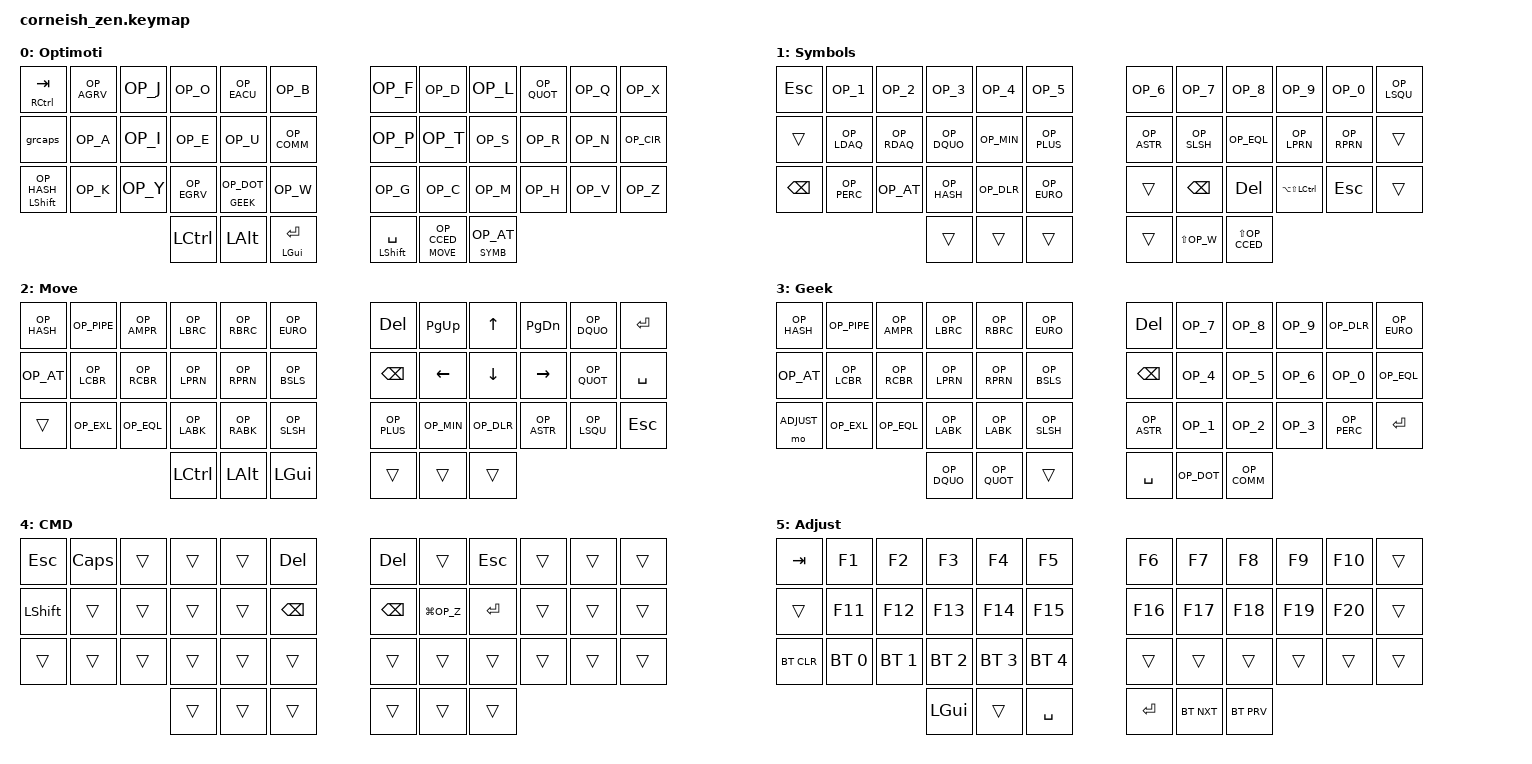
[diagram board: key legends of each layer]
/*
*
* Copyright (c) 2021 Darryl deHaan
* SPDX-License-Identifier: MIT
*
*/

#include <behaviors.dtsi>
#include <dt-bindings/zmk/keys.h>
#include <dt-bindings/zmk/bt.h>

#include "keymap_optimot.h"

#define DEFAULT 0
#define SYMB    1
#define MOVE    2
#define GEEK    3
#define CMD     4
#define ADJUST  5

#define MEH LA(LS(LCTRL))


// Key position groups
#define KEYS_L 0 1 2 3 4 5 12 13 14 15 16 17 24 25 26 27 28 29
#define KEYS_R 6 7 8 9 10 11 18 19 20 21 22 23 30 31 32 33 34 35   
#define THUMBS_L 36 37 38
#define THUMBS_R 39 40 41


/*                KEY POSITIONS

  ╭────────────────────────╮ ╭────────────────────────╮
  │  0   1   2   3   4   5 │ │  6   7   8   9  10  11 │
  │ 12  13  14  15  16  17 │ │ 18  19  20  21  22  23 │
  │ 24  25  26  27  28  29 │ │ 30  31  32  33  34  35 │
  ╰───────────╮ 36  37  38 │ │ 39  40  41 ╭───────────╯
              ╰────────────╯ ╰────────────╯            */

/ {
  chosen {
    zmk,matrix_transform = &default_transform;
    //zmk,matrix_transform = &five_column_transform;
  };

  behaviors {
        gqt: global-quick-tap {
            compatible = "zmk,behavior-hold-tap";
            label = "GLOBAL_QUICK_TAP";
            #binding-cells = <2>;
            flavor = "balanced";
            tapping-term-ms = <210>;
            quick-tap-ms = <175>;
            global-quick-tap;
            bindings = <&kp>, <&kp>;
        };

        grcaps: grave_caps {
            compatible = "zmk,behavior-mod-morph";
            label = "GRAVE_CMD";
            #binding-cells = <0>;
            bindings = <&kp CAPS>, <&kp OP_DLR>;
            mods = <(MOD_LGUI)>;
            keep-mods = <(MOD_LGUI)>;
        };
    };

    combos {
        compatible = "zmk,combos";
        combo_backspace {
            timeout-ms = <40>;
            key-positions = <0 1>; // Backspace = TAB & à
            bindings = <&kp BSPC>;
        };

        combo_hash {
            timeout-ms = <50>;
            key-positions = <25 26>; // # = k & y
            bindings = <&kp OP_HASH>;
        };
    };

};

&mt {
    flavor = "tap-preferred";
    //tapping-term-ms = <150>;
    //quick-tap-ms = <150>;              // repeat on tap-into-hold
    // maybe I should also remove this…
    global-quick-tap;
    // hold-trigger-key-positions = <0>;  // tap on interrupt
};

/ {
        keymap {
                compatible = "zmk,keymap";

                default_layer {
                        label = "Optimoti";
// ---------------------------------------------------------------------------------------------------
// | RCTRL TAB|  à   |  j  |  o    |  é    |  b    |   |  f     |  d    |  l      |  '  |  qu  |  x  |
// | CAPS  (`)|  a   |  i  |  e    |  u    |  ,    |   |  p     |  t    |  s      |  r  |  n   |  ^  |
// | SHFT #   |  k   |  y  |  è    | . GEEK|  w    |   |  g     |  c    |  m      |  h  |  v   |  z  |
//                         | CTRL  |  ALT  |GUI RET|   | (S)SPC | -> ç  |SYM  @   | 

                        bindings = <
   &mt RCTRL TAB      &kp OP_AGRV &kp OP_J &kp OP_O         &kp OP_EACU     &kp OP_B      &kp OP_F          &kp OP_D         &kp OP_L      &kp OP_QUOT &kp OP_Q &kp OP_X
   &grcaps            &kp OP_A    &kp OP_I &kp OP_E         &kp OP_U        &kp OP_COMM   &kp OP_P          &kp OP_T         &kp OP_S      &kp OP_R    &kp OP_N &kp OP_CIR
   &mt LSHIFT OP_HASH &kp OP_K    &kp OP_Y &kp OP_EGRV      &lt GEEK OP_DOT &kp OP_W      &kp OP_G          &kp OP_C         &kp OP_M      &kp OP_H    &kp OP_V &kp OP_Z
                                           &kp LCTRL        &kp LALT        &mt LGUI RET  &gqt LSHIFT SPACE &lt MOVE OP_CCED &lt SYMB OP_AT
                        >;
                };
                lower_layer {
                        label = "Symbols";
// -----------------------------------------------------------------------------------------
// | ESC|  1  |  2  |  3  |  4  |  5  |   |  6  |  7  |  8  |  9  |  0  |   `  | 
// |    |  «  |  »  |  "  |  -  |  +  |   |  *  |  /  |  =  |  (  |  )  |      |
// |BSPC|  %  |  @  |  #  |  $  |  €  |   |     |BSPC | DEL | MEH | ESC |      |
//                  | CTRL| ALT | GUI |   |     |     |     |
                        bindings = <
   &kp ESC     &kp OP_1    &kp OP_2     &kp OP_3     &kp OP_4     &kp OP_5    &kp OP_6    &kp OP_7     &kp OP_8   &kp OP_9    &kp OP_0    &kp OP_LSQU
   &trans      &kp OP_LDAQ &kp OP_RDAQ  &kp OP_DQUO  &kp OP_MIN   &kp OP_PLUS &kp OP_ASTR &kp OP_SLSH  &kp OP_EQL &kp OP_LPRN &kp OP_RPRN &trans
   &kp BSPC    &kp OP_PERC &kp OP_AT    &kp OP_HASH  &kp OP_DLR   &kp OP_EURO &trans      &kp BSPC     &kp DEL    &kp MEH     &kp ESC     &trans
                                        &trans       &trans       &trans      &trans      &kp LS(OP_W) &kp LS(OP_CCED)
                        >;
                };

                raise_layer {
                        label = "Move";
// -------------------------------------------------------------------------------------------------
// |  #   |  |  |  &  |  [   |   ]   |   €  |   | DEL   | Pup     |  Up  | Pdow      | "    | RET  |
// |  @   |  {  |  }  |  (   |   )   |   \  |   | BSPC  | Left    |  Dwn | Right     | '    | SPACE|
// | SHFT |  !  |  =  |  <   |   >   |   /  |   | +     |   -     |  $   | *         | `    | ESC  |
//                    | CTRL |  ALT  | GUI  |   |       |         |SPACE |
                        bindings = <
   &kp OP_HASH &kp OP_PIPE &kp OP_AMPR  &kp OP_LBRC &kp OP_RBRC &kp OP_EURO    &kp DEL     &kp PG_UP  &kp UP     &kp PG_DN   &kp OP_DQUO &kp RET
   &kp OP_AT   &kp OP_LCBR &kp OP_RCBR  &kp OP_LPRN &kp OP_RPRN &kp OP_BSLS    &kp BSPC    &kp LEFT   &kp DOWN   &kp RIGHT   &kp OP_QUOT &kp SPACE
   &trans      &kp OP_EXL  &kp OP_EQL   &kp OP_LABK &kp OP_RABK &kp OP_SLSH    &kp OP_PLUS &kp OP_MIN &kp OP_DLR &kp OP_ASTR &kp OP_LSQU &kp ESC
                                        &kp LCTRL   &kp LALT    &kp LGUI       &trans      &trans     &trans
                        >;
                };


                pad_layer {
                        label = "Geek";
// -----------------------------------------------------------------------------------
// |  #   |  |  |  &  |  [   |   ]   |   €  |   | DEL |  7  |  8  |  9  |  $  |  €   |
// |  @   |  {  |  }  |  (   |   )   |   \  |   | BCK |  4  |  5  |  6  |  0  |  =   |
// |ADJUST|  !  |  =  |  <   |   >   |   /  |   |  *  |  1  |  2  |  3  |  %  |  RET |
//                    |  "   |   '   |      |   | SPC |  .  |  ,  |
                        bindings = <
   &kp OP_HASH &kp OP_PIPE &kp OP_AMPR  &kp OP_LBRC &kp OP_RBRC &kp OP_EURO   &kp DEL     &kp OP_7     &kp OP_8    &kp OP_9 &kp OP_DLR  &kp OP_EURO
   &kp OP_AT   &kp OP_LCBR &kp OP_RCBR  &kp OP_LPRN &kp OP_RPRN &kp OP_BSLS   &kp BSPC    &kp OP_4     &kp OP_5    &kp OP_6 &kp OP_0    &kp OP_EQL
   &mo ADJUST  &kp OP_EXL  &kp OP_EQL   &kp OP_LABK &kp OP_LABK &kp OP_SLSH   &kp OP_ASTR &kp OP_1     &kp OP_2    &kp OP_3 &kp OP_PERC &kp RET
                                        &kp OP_DQUO &kp OP_QUOT &trans        &kp SPACE   &kp OP_DOT   &kp OP_COMM
                        >;
                };

                cmd_layer {
                        label = "CMD";
// --------------------------------------------------------------------------------------------------
// | GRAVE_ESC|CAPS  |      |      |      | DEL    |   | DEL    |      | ESC   |      |      |      |
// | SHIFT    |      |      |      |      | BSPC   |   | BSPC   |  ⌘Z  | RET   |      |      |      |
// |          |      |      |      |      |        |   |        |      |       |      |      |      |
//                          |      |      |        |   |        |      |       |
                          bindings = <
   &kp ESC     &kp CAPS &trans &trans &trans &kp DEL      &kp DEL  &trans       &kp ESC &trans &trans &trans
   &kp LSHIFT  &trans   &trans &trans &trans &kp BSPC     &kp BSPC &kp LG(OP_Z) &kp RET &trans &trans &trans
   &trans      &trans   &trans &trans &trans &trans       &trans   &trans       &trans  &trans &trans &trans
                               &trans &trans &trans       &trans   &trans       &trans
                        >;
                };

                adjust_layer {
                        label = "Adjust";
// -----------------------------------------------------------------------------------------
// |  TAB |  F1 |  F2 |  F3 |  F4 |  F5 |   |  F6 |  F7  |  F8  |  F9 |  F10| BKSP |
// |      |  F11|  F12|  F13|  F14|  F15|   |  F16|  F17 |  F18 |  F19|  F20| BKSP |
// | BTCLR| BT1 | BT2 | BT3 | BT4 | BT5 |   | LFT | DWN  |  UP  | RGT |     |      |
//                    | GUI |     | SPC |   | ENT |BT nxt|BT prv|
                        bindings = <
   &kp TAB    &kp F1       &kp F2       &kp F3       &kp F4       &kp F5         &kp F6   &kp F7     &kp F8    &kp F9    &kp F10 &trans
   &trans     &kp F11      &kp F12      &kp F13      &kp F14      &kp F15        &kp F16  &kp F17    &kp F18   &kp F19   &kp F20 &trans
   &bt BT_CLR &bt BT_SEL 0 &bt BT_SEL 1 &bt BT_SEL 2 &bt BT_SEL 3 &bt BT_SEL 4   &trans   &trans     &trans    &trans    &trans  &trans
                                        &kp LGUI     &trans       &kp SPACE      &kp RET  &bt BT_NXT &bt BT_PRV
                        >;
                };

        };
};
